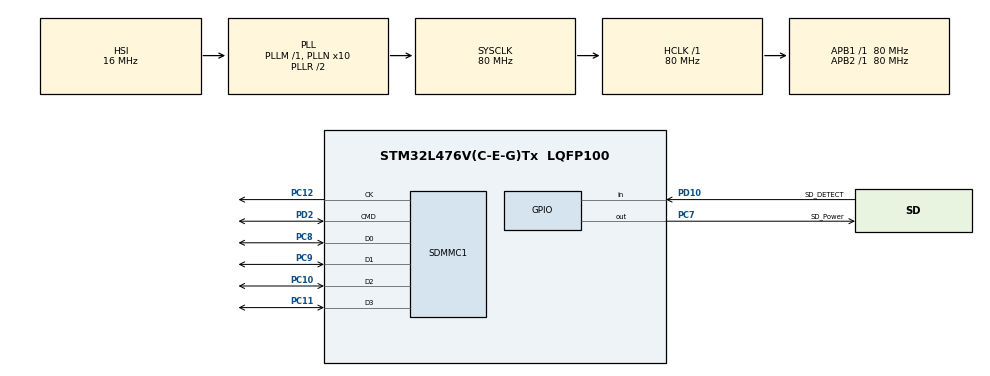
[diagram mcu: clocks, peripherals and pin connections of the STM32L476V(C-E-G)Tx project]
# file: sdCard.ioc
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Dma.Request0=SDMMC1
Dma.SDMMC1.0.Direction=DMA_PERIPH_TO_MEMORY
Dma.SDMMC1.0.Instance=DMA2_Channel4
Dma.SDMMC1.0.MemDataAlignment=DMA_MDATAALIGN_WORD
Dma.SDMMC1.0.MemInc=DMA_MINC_ENABLE
Dma.SDMMC1.0.Mode=DMA_NORMAL
Dma.SDMMC1.0.PeriphDataAlignment=DMA_PDATAALIGN_WORD
Dma.SDMMC1.0.PeriphInc=DMA_PINC_DISABLE
Dma.SDMMC1.0.Priority=DMA_PRIORITY_HIGH
FATFS.BSP.number=1
FATFS.USE_DMA_CODE_SD=1
FATFS._MAX_SS=4096
FATFS0.BSP.STBoard=false
FATFS0.BSP.api=Unknown
FATFS0.BSP.i2caddr=0
FATFS0.BSP.instance=PD10
FATFS0.BSP.ip=GPIO
FATFS0.BSP.mode=Input
FATFS0.BSP.name=Detect_SDIO
FATFS0.BSP.solution=PD10
FREERTOS.Tasks01=defaultTask,0,1024,StartDefaultTask,Default,NULL,Dynamic,NULL,NULL
FREERTOS.configTOTAL_HEAP_SIZE=10000
FREERTOS.configUSE_NEWLIB_REENTRANT=1
Mcu.Family=STM32L4
Mcu.Name=STM32L476V(C-E-G)Tx
Mcu.Package=LQFP100
NVIC.DMA2_Channel4_IRQn=true\:5\:0\:true\:false\:true\:false\:false\:true
NVIC.PriorityGroup=NVIC_PRIORITYGROUP_4
NVIC.SDMMC1_IRQn=true\:5\:0\:false\:false\:true\:true\:true\:true
NVIC.TIM6_DAC_IRQn=true\:15\:0\:false\:false\:true\:false\:false\:true
NVIC.TimeBase=TIM6_DAC_IRQn
NVIC.TimeBaseIP=TIM6
PC10.Mode=SD_4_bits_Wide_bus
PC10.Signal=SDMMC1_D2
PC11.Mode=SD_4_bits_Wide_bus
PC11.Signal=SDMMC1_D3
PC12.Mode=SD_4_bits_Wide_bus
PC12.Signal=SDMMC1_CK
PC7.GPIO_Label=SD_Power
PC7.PinState=GPIO_PIN_SET
PC7.Signal=GPIO_Output
PC8.Mode=SD_4_bits_Wide_bus
PC8.Signal=SDMMC1_D0
PC9.Mode=SD_4_bits_Wide_bus
PC9.Signal=SDMMC1_D1
PD10.GPIO_Label=SD_DETECT
PD10.Signal=GPIO_Input
PD2.Mode=SD_4_bits_Wide_bus
PD2.Signal=SDMMC1_CMD
ProjectManager.HeapSize=0x200
ProjectManager.StackSize=0x400
ProjectManager.TargetToolchain=STM32CubeIDE
RCC.ADCFreq_Value=96000000
RCC.AHBFreq_Value=80000000
RCC.APB1Freq_Value=80000000
RCC.APB1TimFreq_Value=80000000
RCC.APB2Freq_Value=80000000
RCC.APB2TimFreq_Value=80000000
RCC.CortexFreq_Value=80000000
RCC.HCLKFreq_Value=80000000
RCC.HSE_VALUE=8000000
RCC.HSI_VALUE=16000000
RCC.LSE_VALUE=32768
RCC.MSI_VALUE=4000000
RCC.PLLN=10
RCC.PLLSAI1N=12
RCC.PLLSAI1Q=RCC_PLLQ_DIV4
RCC.PLLSourceVirtual=RCC_PLLSOURCE_HSI
RCC.SYSCLKFreq_VALUE=80000000
RCC.SYSCLKSource=RCC_SYSCLKSOURCE_PLLCLK
RCC.USBFreq_Value=48000000
RCC.VCOOutputFreq_Value=160000000
SDMMC1.ClockDiv=4
VP_FATFS_VS_SDIO.Mode=SDIO
VP_FREERTOS_VS_CMSIS_V1.Mode=CMSIS_V1
VP_SYS_VS_tim6.Mode=TIM6
board=custom

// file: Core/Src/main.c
/* USER CODE BEGIN Header */
/**
  ******************************************************************************
  * @file           : main.c
  * @brief          : Main program body
  ******************************************************************************
  * @attention
  *
  * <h2><center>&copy; Copyright (c) 2021 STMicroelectronics.
  * All rights reserved.</center></h2>
  *
  * This software component is licensed by ST under BSD 3-Clause license,
  * the "License"; You may not use this file except in compliance with the
  * License. You may obtain a copy of the License at:
  *                        opensource.org/licenses/BSD-3-Clause
  *
  ******************************************************************************
  */
/* USER CODE END Header */
#include "main.h"
#include "cmsis_os.h"
#include "dma.h"
#include "fatfs.h"
#include "sdmmc.h"
#include "gpio.h"

void SystemClock_Config(void);
void MX_FREERTOS_Init(void);

int main(void)
{

  /* MCU Configuration--------------------------------------------------------*/

  /* Reset of all peripherals, Initializes the Flash interface and the Systick. */
  HAL_Init();

  /* Configure the system clock */
  SystemClock_Config();

  /* Initialize all configured peripherals */
  MX_GPIO_Init();
  MX_SDMMC1_SD_Init();
  MX_FATFS_Init();
  MX_DMA_Init();

  /* Call init function for freertos objects (in freertos.c) */
  MX_FREERTOS_Init();
  /* Start scheduler */
  osKernelStart();

  /* We should never get here as control is now taken by the scheduler */
  /* Infinite loop */
  while (1)
  {

  }
}

void SystemClock_Config(void)
{
  RCC_OscInitTypeDef RCC_OscInitStruct = {0};
  RCC_ClkInitTypeDef RCC_ClkInitStruct = {0};

  /** Configure the main internal regulator output voltage
  */
  if (HAL_PWREx_ControlVoltageScaling(PWR_REGULATOR_VOLTAGE_SCALE1) != HAL_OK)
  {
    Error_Handler();
  }
  /** Initializes the RCC Oscillators according to the specified parameters
  * in the RCC_OscInitTypeDef structure.
  */
  RCC_OscInitStruct.OscillatorType = RCC_OSCILLATORTYPE_HSI;
  RCC_OscInitStruct.HSIState = RCC_HSI_ON;
  RCC_OscInitStruct.HSICalibrationValue = RCC_HSICALIBRATION_DEFAULT;
  RCC_OscInitStruct.PLL.PLLState = RCC_PLL_ON;
  RCC_OscInitStruct.PLL.PLLSource = RCC_PLLSOURCE_HSI;
  RCC_OscInitStruct.PLL.PLLM = 1;
  RCC_OscInitStruct.PLL.PLLN = 10;
  RCC_OscInitStruct.PLL.PLLP = RCC_PLLP_DIV7;
  RCC_OscInitStruct.PLL.PLLQ = RCC_PLLQ_DIV2;
  RCC_OscInitStruct.PLL.PLLR = RCC_PLLR_DIV2;
  if (HAL_RCC_OscConfig(&RCC_OscInitStruct) != HAL_OK)
  {
    Error_Handler();
  }
  /** Initializes the CPU, AHB and APB buses clocks
  */
  RCC_ClkInitStruct.ClockType = RCC_CLOCKTYPE_HCLK|RCC_CLOCKTYPE_SYSCLK
                              |RCC_CLOCKTYPE_PCLK1|RCC_CLOCKTYPE_PCLK2;
  RCC_ClkInitStruct.SYSCLKSource = RCC_SYSCLKSOURCE_PLLCLK;
  RCC_ClkInitStruct.AHBCLKDivider = RCC_SYSCLK_DIV1;
  RCC_ClkInitStruct.APB1CLKDivider = RCC_HCLK_DIV1;
  RCC_ClkInitStruct.APB2CLKDivider = RCC_HCLK_DIV1;

  if (HAL_RCC_ClockConfig(&RCC_ClkInitStruct, FLASH_LATENCY_4) != HAL_OK)
  {
    Error_Handler();
  }
}

void HAL_TIM_PeriodElapsedCallback(TIM_HandleTypeDef *htim)
{
  if (htim->Instance == TIM6) {
    HAL_IncTick();
  }
}

void Error_Handler(void)
{
  __disable_irq();
  while (1)
  {
  }
}

/************************ (C) COPYRIGHT STMicroelectronics *****END OF FILE****/

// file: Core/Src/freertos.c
/* USER CODE BEGIN Header */
/**
  ******************************************************************************
  * File Name          : freertos.c
  * Description        : Code for freertos applications
  ******************************************************************************
  * @attention
  *
  * <h2><center>&copy; Copyright (c) 2022 STMicroelectronics.
  * All rights reserved.</center></h2>
  *
  * This software component is licensed by ST under Ultimate Liberty license
  * SLA0044, the "License"; You may not use this file except in compliance with
  * the License. You may obtain a copy of the License at:
  *                             www.st.com/SLA0044
  *
  ******************************************************************************
  */
/* USER CODE END Header */

#include "FreeRTOS.h"
#include "task.h"
#include "main.h"
#include "cmsis_os.h"

/* USER CODE BEGIN Includes */
#include "fatfs.h"
#include "stdio.h"
#include "string.h"
#include "stdbool.h"
/* USER CODE END Includes */

osThreadId defaultTaskHandle;

void StartDefaultTask(void const * argument);

void MX_FREERTOS_Init(void); /* (MISRA C 2004 rule 8.1) */

/* GetIdleTaskMemory prototype (linked to static allocation support) */
void vApplicationGetIdleTaskMemory( StaticTask_t **ppxIdleTaskTCBBuffer, StackType_t **ppxIdleTaskStackBuffer, uint32_t *pulIdleTaskStackSize );

/* USER CODE BEGIN GET_IDLE_TASK_MEMORY */
static StaticTask_t xIdleTaskTCBBuffer;
static StackType_t xIdleStack[configMINIMAL_STACK_SIZE];

void vApplicationGetIdleTaskMemory( StaticTask_t **ppxIdleTaskTCBBuffer, StackType_t **ppxIdleTaskStackBuffer, uint32_t *pulIdleTaskStackSize )
{
  *ppxIdleTaskTCBBuffer = &xIdleTaskTCBBuffer;
  *ppxIdleTaskStackBuffer = &xIdleStack[0];
  *pulIdleTaskStackSize = configMINIMAL_STACK_SIZE;
  /* place for user code */
}
/* USER CODE END GET_IDLE_TASK_MEMORY */

void MX_FREERTOS_Init(void) {

  /* Create the thread(s) */
  /* definition and creation of defaultTask */
  osThreadDef(defaultTask, StartDefaultTask, osPriorityNormal, 0, 1024);
  defaultTaskHandle = osThreadCreate(osThread(defaultTask), NULL);

}

void StartDefaultTask(void const * argument)
{
  /* USER CODE BEGIN StartDefaultTask */
	char read_buff[20] = {0};
	char write_buff[20] = {0};
	bool is_successful = false;

	FRESULT res;
	if((res = f_mount(&SDFatFS, SDPath, 1)) == FR_OK)
	{
		if(f_open(&SDFile, "test.txt", FA_WRITE | FA_OPEN_ALWAYS) == FR_OK)
		{
			UINT bw;
			sprintf(write_buff,"Hello World!!!!");
			f_write(&SDFile, write_buff, sizeof(write_buff), &bw);
			f_close(&SDFile);
		}

		if(f_open(&SDFile, "test.txt", FA_READ | FA_OPEN_ALWAYS) == FR_OK)
		{
			UINT br;
			f_read(&SDFile, read_buff, sizeof(read_buff), &br);
			f_close(&SDFile);
		}

		if(strcmp(write_buff,read_buff) == 0)
		{
			//Read and write buffers are equal so SD card with FATFS and freeRTOS works fine
			is_successful = true;
		}
	}
  /* Infinite loop */
  for(;;)
  {
    osDelay(1);
  }
  /* USER CODE END StartDefaultTask */
}

/************************ (C) COPYRIGHT STMicroelectronics *****END OF FILE****/
